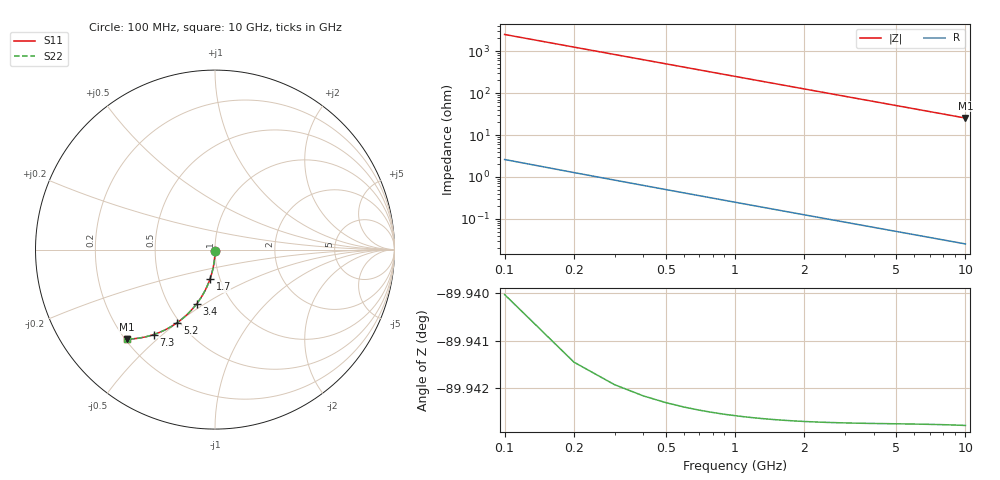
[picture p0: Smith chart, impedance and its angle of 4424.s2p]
# Hz S RI R 50.00
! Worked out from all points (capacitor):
!   100 points, 100 MHz to 10 GHz, reference 50 ohm
!   read as one part in shunt: C = 639 fF near 100 MHz
!   lowest |Z| = 25.4 ohm at 10 GHz (marker M1)
!   S11 on the Smith chart (normalised r, x): 100 MHz: 1.00, -0.02; 1.7 GHz: 0.90, -0.30; 3.4 GHz: 0.69, -0.46; 5.2 GHz: 0.49, -0.50; 7.3 GHz: 0.33, -0.47; 10 GHz: 0.21, -0.40
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1e8  -0.00011 -0.01  0.9999 -0.01  0.9999 -0.01  -0.00011 -0.01
2e8  -0.000422 -0.0201  0.9996 -0.0201  0.9996 -0.0201  -0.000422 -0.0201
3e8  -0.000935 -0.0301  0.9991 -0.0301  0.9991 -0.0301  -0.000935 -0.0301
4e8  -0.00165 -0.04  0.9984 -0.0401  0.9984 -0.0401  -0.00165 -0.04
5e8  -0.00256 -0.05  0.9974 -0.0501  0.9974 -0.0501  -0.00256 -0.05
6e8  -0.00367 -0.0599  0.9963 -0.06  0.9963 -0.06  -0.00367 -0.0599
8e8  -0.00647 -0.0796  0.9935 -0.0797  0.9935 -0.0797  -0.00647 -0.0796
1.1e9  -0.0121 -0.1087  0.9879 -0.1089  0.9879 -0.1089  -0.0121 -0.1087
1.4e9  -0.0194 -0.1372  0.9806 -0.1374  0.9806 -0.1374  -0.0194 -0.1372
1.7e9  -0.0282 -0.1649  0.9718 -0.1652  0.9718 -0.1652  -0.0282 -0.1649
1.8e9  -0.0315 -0.174  0.9685 -0.1742  0.9685 -0.1742  -0.0315 -0.174
2.1e9  -0.0423 -0.2005  0.9577 -0.2008  0.9577 -0.2008  -0.0423 -0.2005
2.5e9  -0.0587 -0.2343  0.9413 -0.2347  0.9413 -0.2347  -0.0587 -0.2343
2.9e9  -0.0772 -0.2662  0.9228 -0.2665  0.9228 -0.2665  -0.0772 -0.2662
3.4e9  -0.1028 -0.303  0.8972 -0.3034  0.8972 -0.3034  -0.1028 -0.303
4.2e9  -0.1483 -0.3546  0.8517 -0.3552  0.8517 -0.3552  -0.1483 -0.3546
5.1e9  -0.2036 -0.4019  0.7963 -0.4026  0.7963 -0.4026  -0.2036 -0.4019
5.2e9  -0.21 -0.4064  0.79 -0.4071  0.79 -0.4071  -0.21 -0.4064
6.7e9  -0.3051 -0.4595  0.6949 -0.4604  0.6949 -0.4604  -0.3051 -0.4595
7.3e9  -0.3424 -0.4735  0.6576 -0.4745  0.6576 -0.4745  -0.3424 -0.4735
8.4e9  -0.4075 -0.4903  0.5925 -0.4914  0.5925 -0.4914  -0.4075 -0.4903
1e10  -0.493 -0.4988  0.507 -0.5001  0.507 -0.5001  -0.493 -0.4988
